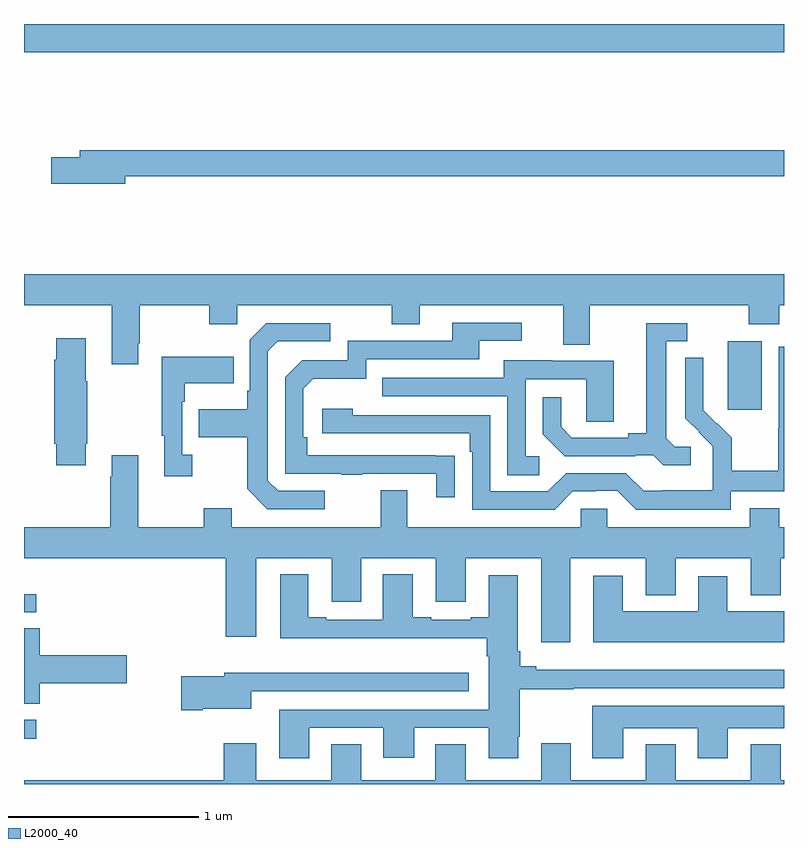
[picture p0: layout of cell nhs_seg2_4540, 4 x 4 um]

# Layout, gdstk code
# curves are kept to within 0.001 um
import gdstk
lib = gdstk.Library(unit=1e-6, precision=1e-09)
def R(c, l, rs):  # rectangles x0, y0, x1, y1
    for r in rs: c.add(gdstk.rectangle(r[:2], r[2:], *l))
def P(c, l, *ps):  # polygons
    for p in ps: c.add(gdstk.Polygon(p, *l))
L2000_40 = (2000, 40)

nhs_seg2_4540 = lib.new_cell('nhs_seg2_4540')
R(nhs_seg2_4540, L2000_40, [(357,628.039,357.064,628.137), (357,628.704,357.064,628.8), (360.704,629.769,360.883,630.13), (357,631.652,361,631.8)])
P(nhs_seg2_4540, L2000_40, [(357.532,631),(361,631),(361,631.136),(357.293,631.136),(357.293,631.1),(357.144,631.1),(357.144,630.958),(357.532,630.958)],
  [(357.601,630.121),(357.609,630.121),(357.609,630.32),(357.976,630.32),(357.976,630.221),(358.122,630.221),(358.122,630.32),(358.936,630.32),(358.936,630.221),(359.083,630.221),(359.083,630.32),(359.837,630.32),(359.837,630.112),(359.977,630.112),(359.977,630.32),(360.814,630.32),(360.814,630.221),(360.974,630.221),(360.974,630.32),(361,630.32),(361,630.484),(357,630.484),(357,630.32),(357.461,630.32),(357.461,630.009),(357.601,630.009)],
  [(359.267,629.528),(358.49,629.529),(358.49,629.626),(358.47,629.626),(358.47,629.88),(358.523,629.933),(358.8,629.933),(358.8,630.036),(359.395,630.036),(359.395,630.132),(359.62,630.132),(359.62,630.228),(359.255,630.228),(359.255,630.132),(358.704,630.132),(358.704,630.03),(358.464,630.03),(358.374,629.94),(358.374,629.433),(358.669,629.433),(358.669,629.428),(358.781,629.428),(358.781,629.433),(359.171,629.433),(359.171,629.31),(359.267,629.31)],
  [(358.582,629.343),(358.338,629.343),(358.284,629.397),(358.284,630.078),(358.335,630.129),(358.612,630.129),(358.612,630.225),(358.275,630.225),(358.188,630.138),(358.188,629.869),(358.176,629.869),(358.176,629.773),(357.919,629.773),(357.919,629.626),(358.176,629.626),(358.176,629.353),(358.281,629.247),(358.582,629.247)],
  [(360.508,629.574),(360.426,629.574),(360.379,629.621),(360.379,630.129),(360.49,630.129),(360.49,630.225),(360.275,630.225),(360.275,629.645),(360.179,629.645),(360.179,629.622),(359.884,629.622),(359.827,629.679),(359.827,629.836),(359.73,629.836),(359.73,629.642),(359.846,629.526),(360.218,629.526),(360.218,629.529),(360.312,629.529),(360.364,629.477),(360.508,629.477)],
  [(357.325,629.59),(357.333,629.59),(357.333,629.921),(357.325,629.921),(357.325,630.145),(357.17,630.145),(357.17,630.032),(357.158,630.032),(357.158,629.59),(357.17,629.59),(357.17,629.478),(357.325,629.478)],
  [(360.72,629.34),(361,629.34),(361,630.102),(360.972,630.102),(360.972,629.672),(360.97,629.672),(360.97,629.449),(360.725,629.449),(360.725,629.623),(360.648,629.7),(360.645,629.697),(360.575,629.768),(360.576,630.044),(360.48,630.044),(360.48,629.726),(360.626,629.578),(360.626,629.481),(360.624,629.481),(360.624,629.347),(360.361,629.347),(360.361,629.343),(360.261,629.343),(360.168,629.436),(359.853,629.436),(359.757,629.34),(359.454,629.34),(359.454,629.742),(358.73,629.742),(358.73,629.776),(358.569,629.776),(358.569,629.646),(359.345,629.646),(359.345,629.549),(359.358,629.549),(359.358,629.244),(359.793,629.244),(359.889,629.34),(360.008,629.34),(360.008,629.343),(360.123,629.343),(360.223,629.243),(360.72,629.243)],
  [(357.886,629.534),(357.834,629.534),(357.834,629.813),(357.847,629.813),(357.847,629.909),(358.103,629.909),(358.103,630.049),(357.726,630.049),(357.726,629.633),(357.737,629.633),(357.737,629.421),(357.886,629.421)],
  [(359.713,629.526),(359.64,629.526),(359.64,629.931),(359.958,629.931),(359.958,629.707),(360.103,629.707),(360.103,630.027),(359.779,630.027),(359.779,630.031),(359.525,630.031),(359.525,629.937),(358.885,629.937),(358.885,629.841),(359.544,629.841),(359.544,629.425),(359.713,629.425)],
  [(358.061,628.575),(358.222,628.575),(358.222,628.988),(358.619,628.988),(358.619,628.758),(358.774,628.758),(358.774,628.988),(359.168,628.988),(359.168,628.758),(359.326,628.758),(359.326,628.988),(359.723,628.988),(359.723,628.545),(359.875,628.545),(359.875,628.988),(360.272,628.988),(360.272,628.794),(360.43,628.794),(360.43,628.988),(360.824,628.988),(360.824,628.794),(360.982,628.794),(360.982,628.988),(361,628.988),(361,629.152),(360.974,629.152),(360.974,629.251),(360.821,629.251),(360.821,629.152),(360.069,629.152),(360.069,629.25),(359.931,629.25),(359.931,629.152),(359.017,629.152),(359.017,629.347),(358.877,629.347),(358.877,629.152),(358.093,629.152),(358.093,629.251),(357.946,629.251),(357.946,629.152),(357.601,629.152),(357.601,629.53),(357.461,629.53),(357.461,629.417),(357.454,629.417),(357.454,629.152),(357,629.152),(357,628.988),(358.061,628.988)],
  [(358.501,628.095),(358.892,628.095),(358.892,627.939),(359.053,627.939),(359.053,628.095),(359.447,628.095),(359.447,627.936),(359.602,627.936),(359.602,628.048),(359.61,628.048),(359.61,628.3),(359.894,628.3),(359.894,628.305),(361,628.305),(361,628.402),(359.695,628.402),(359.695,628.421),(359.612,628.421),(359.612,628.498),(359.599,628.498),(359.599,628.9),(359.447,628.9),(359.447,628.678),(359.351,628.678),(359.351,628.665),(359.143,628.665),(359.143,628.678),(359.047,628.678),(359.047,628.903),(358.889,628.903),(358.889,628.665),(358.591,628.665),(358.591,628.678),(358.495,628.678),(358.495,628.903),(358.349,628.903),(358.349,628.568),(359.435,628.568),(359.435,628.472),(359.447,628.472),(359.447,628.191),(358.343,628.191),(358.343,627.936),(358.501,627.936)],
  [(361,628.708),(360.7,628.708),(360.7,628.894),(360.548,628.894),(360.548,628.708),(360.151,628.708),(360.151,628.897),(359.996,628.897),(359.996,628.547),(361,628.547)],
  [(357.083,628.331),(357.541,628.331),(357.541,628.478),(357.083,628.478),(357.083,628.619),(357,628.619),(357,628.222),(357.083,628.222)],
  [(357.94,628.196),(358.195,628.196),(358.195,628.287),(359.341,628.287),(359.341,628.385),(358.055,628.385),(358.055,628.367),(357.828,628.367),(357.828,628.189),(357.94,628.189)],
  [(360.154,628.094),(360.545,628.094),(360.545,627.936),(360.703,627.936),(360.703,628.094),(361,628.094),(361,628.213),(359.99,628.213),(359.99,627.936),(360.154,627.936)],
  [(361,627.82),(360.982,627.82),(360.982,628.009),(360.824,628.009),(360.824,627.82),(360.43,627.82),(360.43,628.009),(360.272,628.009),(360.272,627.82),(359.878,627.82),(359.878,628.015),(359.723,628.015),(359.723,627.82),(359.326,627.82),(359.326,628.01),(359.165,628.01),(359.165,627.82),(358.774,627.82),(358.774,628.01),(358.616,628.01),(358.616,627.82),(358.222,627.82),(358.222,628.015),(358.052,628.015),(358.052,627.82),(357,627.82),(357,627.8),(361,627.8)])

lib.write_gds('nhs_seg2_4540.gds')
